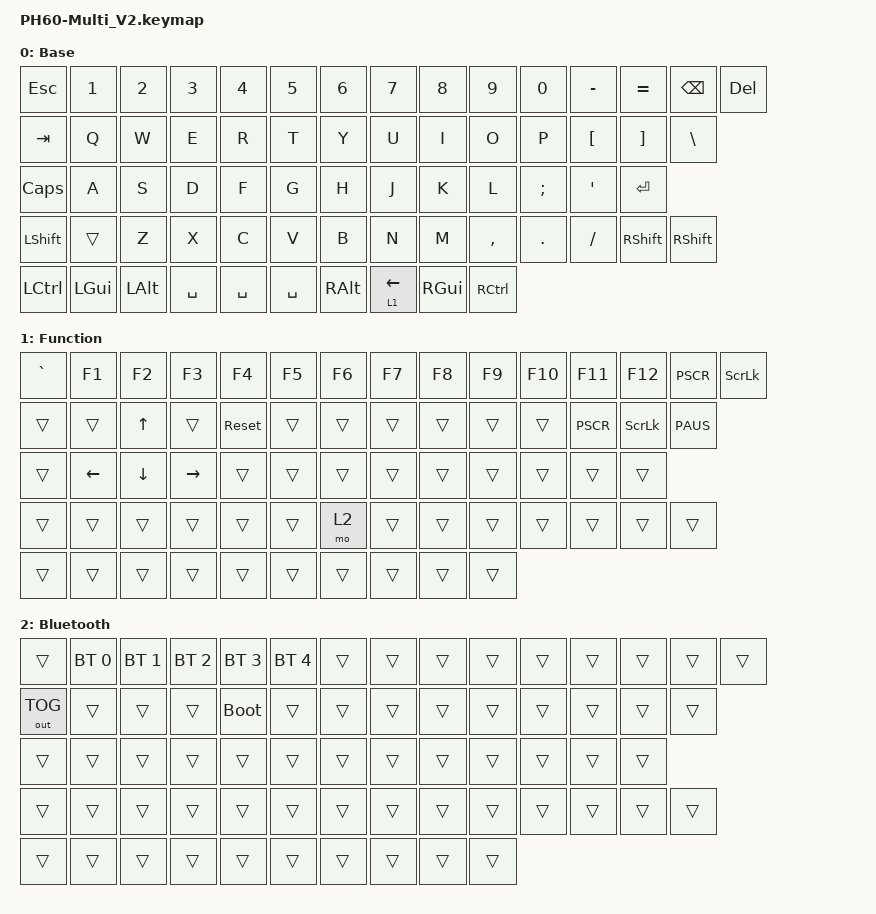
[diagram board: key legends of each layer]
/*
 * Copyright (c) 2025 Team PHDesign
 * SPDX-License-Identifier: MIT
 *
 * Keymap for PH-Lite board + PH60-Multi_V2 shield (ANSI)
 * Uses physical-layout position map (66 positions: 0-65)
 * Matrix: 15 cols x 5 rows, col2row diodes
 * Supports: ANSI / ISO / WK / WKL / HHKB
 */

#include <behaviors.dtsi>
#include <dt-bindings/zmk/keys.h>
#include <dt-bindings/zmk/bt.h>
#include <dt-bindings/zmk/outputs.h>
#include <dt-bindings/zmk/pointing.h>

/ {
	behaviors {
		/* Macro: Clear current BT profile on tap */
		bt_clear_current_macro: bt_clear_current_macro {
			compatible = "zmk,behavior-macro";
			#binding-cells = <0>;
			bindings = <&bt BT_CLR>;
		};

		/* Macro: Clear all BT profiles on hold */
		bt_clear_all_macro: bt_clear_all_macro {
			compatible = "zmk,behavior-macro";
			#binding-cells = <0>;
			bindings = <&bt BT_CLR_ALL>;
		};

		/* Hold-tap: clear current (tap) / clear all (hold), 3s hold */
		bt_clear_holdtap: bt_clear_holdtap {
			compatible = "zmk,behavior-hold-tap";
			#binding-cells = <2>;
			flavor = "tap-preferred";
			tapping-term-ms = <3000>;
			bindings = <&bt_clear_all_macro>, <&bt_clear_current_macro>;
		};

		/* Default mod-tap — hold-preferred, 200ms */
		ht_def: ht_def {
			compatible = "zmk,behavior-hold-tap";
			#binding-cells = <2>;
			flavor = "hold-preferred";
			tapping-term-ms = <200>;
			bindings = <&kp>, <&kp>;
		};

		/* Fast mod-tap — balanced, 150ms, quick-tap 100ms */
		ht_fast: ht_fast {
			compatible = "zmk,behavior-hold-tap";
			#binding-cells = <2>;
			flavor = "balanced";
			tapping-term-ms = <150>;
			quick-tap-ms = <100>;
			bindings = <&kp>, <&kp>;
		};

		/* Slow layer-tap — tap-preferred, 280ms, retro-tap */
		ht_slow: ht_slow {
			compatible = "zmk,behavior-hold-tap";
			#binding-cells = <2>;
			flavor = "tap-preferred";
			tapping-term-ms = <280>;
			retro-tap;
			bindings = <&mo>, <&kp>;
		};

		/* User slots — default hold-preferred 200ms, tweak in Studio */
		ht_user1: ht_user1 {
			compatible = "zmk,behavior-hold-tap";
			#binding-cells = <2>;
			flavor = "hold-preferred";
			tapping-term-ms = <200>;
			bindings = <&kp>, <&kp>;
		};

		ht_user2: ht_user2 {
			compatible = "zmk,behavior-hold-tap";
			#binding-cells = <2>;
			flavor = "hold-preferred";
			tapping-term-ms = <200>;
			bindings = <&kp>, <&kp>;
		};

		ht_user3: ht_user3 {
			compatible = "zmk,behavior-hold-tap";
			#binding-cells = <2>;
			flavor = "hold-preferred";
			tapping-term-ms = <200>;
			bindings = <&kp>, <&kp>;
		};

		ht_user4: ht_user4 {
			compatible = "zmk,behavior-hold-tap";
			#binding-cells = <2>;
			flavor = "hold-preferred";
			tapping-term-ms = <200>;
			bindings = <&kp>, <&kp>;
		};
	};

	keymap {
		compatible = "zmk,keymap";

		/* ==========================
		 * Layer 0: Base (ANSI 60%)
		 * ==========================
		 * Row 0 (0-14):   ESC  1    2    3    4    5    6    7    8    9    0    -    =    BSPC DEL
		 * Row 1 (15-28):  TAB  Q    W    E    R    T    Y    U    I    O    P    [    ]    \
		 * Row 2 (29-41):  CAPS A    S    D    F    G    H    J    K    L    ;    '    ENTER
		 * Row 3 (42-55):  LSFT _    Z    X    C    V    B    N    M    ,    .    /    RSFT _pad
		 * Row 4 (56-65):  LCTL LGUI LALT SPC  SPC  SPC  RALT MO(1) LEFT RGUI RCTL
		 */
		default_layer {
			display-name = "Base";
			bindings = <
	&kp ESC		&kp N1		&kp N2		&kp N3		&kp N4		&kp N5		&kp N6		&kp N7		&kp N8		&kp N9		&kp N0		&kp MINUS	&kp EQUAL	&kp BSPC	&kp DEL
	&kp TAB		&kp Q		&kp W		&kp E		&kp R		&kp T		&kp Y		&kp U		&kp I		&kp O		&kp P		&kp LBKT	&kp RBKT	&kp BSLH
	&kp CAPS	&kp A		&kp S		&kp D		&kp F		&kp G		&kp H		&kp J		&kp K		&kp L		&kp SEMI	&kp SQT	&kp ENTER
	&kp LSHFT	&trans		&kp Z		&kp X		&kp C		&kp V		&kp B		&kp N		&kp M		&kp COMMA	&kp DOT		&kp FSLH	&kp RSHFT	&kp RSHFT
	&kp LCTRL	&kp LGUI	&kp LALT	&kp SPACE	&kp SPACE	&kp SPACE	&kp RALT	&lt 1 LEFT	&kp RGUI	&kp RCTRL
			>;
		};

		/* ==========================
		 * Layer 1: Function
		 * ==========================
		 * Top row: GRAVE->F1-F10, F11, F12, PSCR, SLCK, PAUS
		 * WASD cluster: navigation (UP) and volume
		 */
		function_layer {
			display-name = "Function";
			bindings = <
	&kp GRAVE	&kp F1		&kp F2		&kp F3		&kp F4		&kp F5		&kp F6		&kp F7		&kp F8		&kp F9		&kp F10		&kp F11		&kp F12		&kp PSCR	&kp SLCK
	&trans		&trans		&kp UP		&trans		&sys_reset	&trans		&trans		&trans		&trans		&trans		&trans		&kp PSCR	&kp SLCK	&kp PAUS
	&trans		&kp LEFT	&kp DOWN	&kp RIGHT	&trans		&trans		&trans		&trans		&trans		&trans		&trans		&trans		&trans
	&trans		&trans		&trans		&trans		&trans		&trans		&mo 2		&trans		&trans		&trans		&trans		&trans		&trans		&trans
	&trans		&trans		&trans		&trans		&trans		&trans		&trans		&trans		&trans		&trans
			>;
		};

		/* ==========================
		 * Layer 2: Bluetooth
		 * ==========================
		 * BT profile select, output toggle, bootloader
		 */
		bluetooth_layer {
			display-name = "Bluetooth";
			bindings = <
	&trans		&bt BT_SEL 0	&bt BT_SEL 1	&bt BT_SEL 2	&bt BT_SEL 3	&bt BT_SEL 4	&trans		&trans		&trans		&trans		&trans		&trans		&trans		&trans		&trans
	&out OUT_TOG	&trans		&trans		&trans		&bootloader	&trans		&trans		&trans		&trans		&trans		&trans		&trans		&trans		&trans
	&trans		&trans		&trans		&trans		&trans		&trans		&trans		&trans		&trans		&trans		&trans		&trans		&trans
	&trans		&trans		&trans		&trans		&trans		&trans		&trans		&trans		&trans		&trans		&trans		&trans		&trans		&trans
	&trans		&trans		&trans		&trans		&trans		&trans		&trans		&trans		&trans		&trans
			>;
		};

		/* Reserved layers for ZMK Studio runtime editing */
		extra1 {
			display-name = "Extra 1";
			status = "reserved";
		};

		extra2 {
			display-name = "Extra 2";
			status = "reserved";
		};
	};
};
